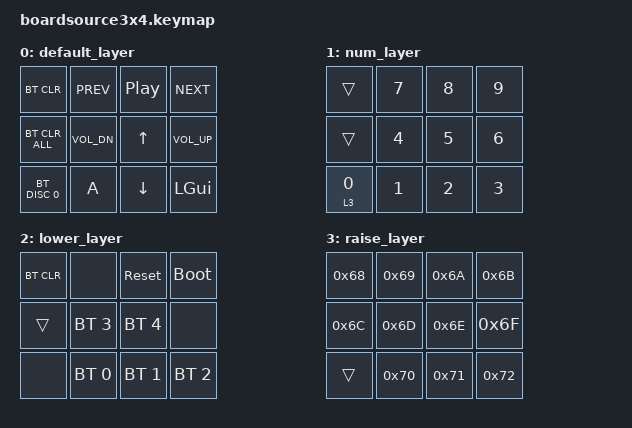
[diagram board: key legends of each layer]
/*
 * Copyright (c) 2020 The ZMK Contributors
 *
 * SPDX-License-Identifier: MIT
 */

#include <behaviors.dtsi>
#include <dt-bindings/zmk/keys.h>
#include <dt-bindings/zmk/bt.h>

/ {
    keymap {
        compatible = "zmk,keymap";

        default_layer {

            bindings = <
    &bt BT_CLR     &kp C_PREV   &kp C_PP &kp C_NEXT
    &bt BT_CLR_ALL  &kp C_VOL_DN &kp UP   &kp C_VOL_UP
    &bt BT_DISC 0   &kp A     &kp DOWN &kp LEFT_GUI
            >;

        };

        num_layer {
            bindings = <
    &trans   &kp N7 &kp N8 &kp N9
    &trans   &kp N4 &kp N5 &kp N6
    &lt 3 N0 &kp N1 &kp N2 &kp N3
            >;
        };

        lower_layer {
            bindings = <
    &bt BT_CLR &none        &sys_reset       &bootloader
    &trans     &bt BT_SEL 3 &bt BT_SEL 4 &none
    &none      &bt BT_SEL 0 &bt BT_SEL 1 &bt BT_SEL 2
            >;
        };

        raise_layer {
            bindings = <
    &kp 0x68 &kp 0x69 &kp 0x6A &kp 0x6B
    &kp 0x6C &kp 0x6D &kp 0x6E &kp 0x6F
    &trans   &kp 0x70 &kp 0x71 &kp 0x72
            >;
        };
    };
};
